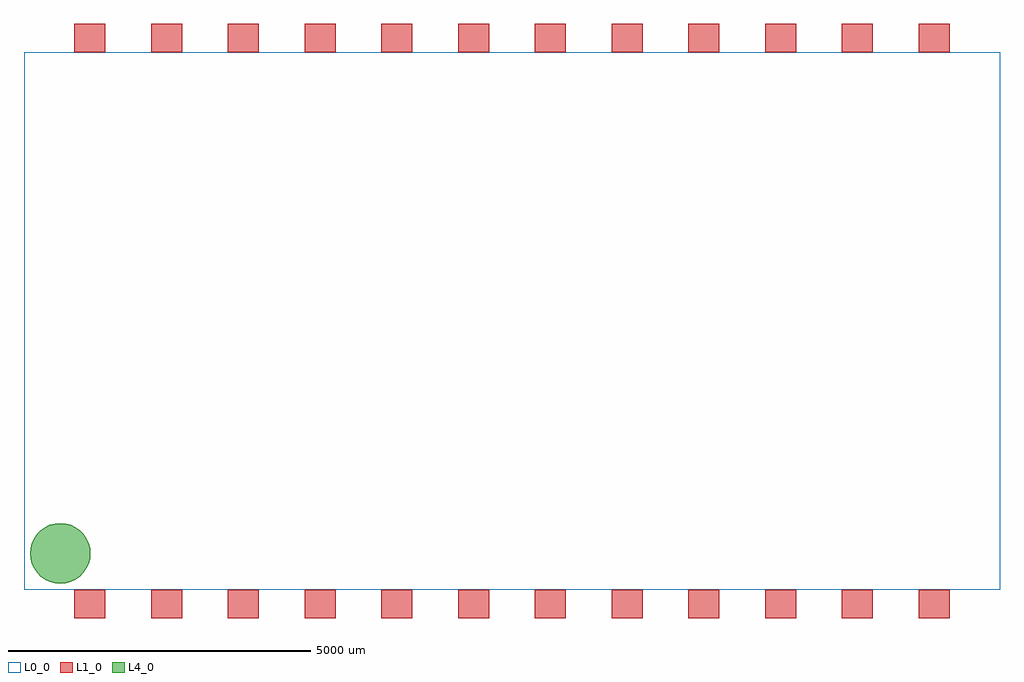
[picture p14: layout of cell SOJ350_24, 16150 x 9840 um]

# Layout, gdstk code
import gdstk
lib = gdstk.Library(unit=1e-6, precision=1e-09)
def R(c, l, rs):  # rectangles x0, y0, x1, y1
    for r in rs: c.add(gdstk.rectangle(r[:2], r[2:], *l))
def A(c, l, x, y, w, h, nx, ny, dx, dy):  # array of equal rectangles
    R(c, l, [(x+i*dx, y+j*dy, x+i*dx+w, y+j*dy+h) for i in range(nx) for j in range(ny)])
def P(c, l, *ps):  # polygons
    for p in ps: c.add(gdstk.Polygon(p, *l))
L0_0 = (0, 0)
L1_0 = (1, 0)
L4_0 = (4, 0)
L99_1 = (99, 1)
L99_2 = (99, 2)
L99_3 = (99, 3)
L99_4 = (99, 4)
L99_5 = (99, 5)
L99_6 = (99, 6)
L99_7 = (99, 7)
L99_8 = (99, 8)
L99_9 = (99, 9)
L99_10 = (99, 10)
L99_11 = (99, 11)
L99_12 = (99, 12)
L99_13 = (99, 13)
L99_14 = (99, 14)
L99_15 = (99, 15)
L99_16 = (99, 16)
L99_17 = (99, 17)
L99_18 = (99, 18)
L99_19 = (99, 19)
L99_20 = (99, 20)
L99_21 = (99, 21)
L99_22 = (99, 22)
L99_23 = (99, 23)
L99_24 = (99, 24)

soj350_24 = lib.new_cell('SOJ350_24')
R(soj350_24, L0_0, [(0,0,16150,8890)])
A(soj350_24, L1_0, 835, -475, 510, 475, 12, 2, 1270, 9365)
P(soj350_24, L4_0, [(1100,600),(1092.404,513.176),(1069.846,428.99),(1033.013,350),(983.022,278.606),(921.394,216.978),(850,166.987),(771.01,130.154),(686.824,107.596),(600,100),(513.176,107.596),(428.99,130.154),(350,166.987),(278.606,216.978),(216.978,278.606),(166.987,350),(130.154,428.99),(107.596,513.176),(100,600),(107.596,686.824),(130.154,771.01),(166.987,850),(216.978,921.394),(278.606,983.022),(350,1033.013),(428.99,1069.846),(513.176,1092.404),(600,1100),(686.824,1092.404),(771.01,1069.846),(850,1033.013),(921.394,983.022),(983.022,921.394),(1033.013,850),(1069.846,771.01),(1092.404,686.824)])
soj350_24.add(gdstk.FlexPath([(1345,0),(835,0)], 0, ends="round", simple_path=True, layer=99, datatype=1))  # L99_1
soj350_24.add(gdstk.FlexPath([(2615,0),(2105,0)], 0, ends="round", simple_path=True, layer=99, datatype=2))  # L99_2
soj350_24.add(gdstk.FlexPath([(3885,0),(3375,0)], 0, ends="round", simple_path=True, layer=99, datatype=3))  # L99_3
soj350_24.add(gdstk.FlexPath([(5155,0),(4645,0)], 0, ends="round", simple_path=True, layer=99, datatype=4))  # L99_4
soj350_24.add(gdstk.FlexPath([(6425,0),(5915,0)], 0, ends="round", simple_path=True, layer=99, datatype=5))  # L99_5
soj350_24.add(gdstk.FlexPath([(7695,0),(7185,0)], 0, ends="round", simple_path=True, layer=99, datatype=6))  # L99_6
soj350_24.add(gdstk.FlexPath([(8965,0),(8455,0)], 0, ends="round", simple_path=True, layer=99, datatype=7))  # L99_7
soj350_24.add(gdstk.FlexPath([(10235,0),(9725,0)], 0, ends="round", simple_path=True, layer=99, datatype=8))  # L99_8
soj350_24.add(gdstk.FlexPath([(11505,0),(10995,0)], 0, ends="round", simple_path=True, layer=99, datatype=9))  # L99_9
soj350_24.add(gdstk.FlexPath([(12775,0),(12265,0)], 0, ends="round", simple_path=True, layer=99, datatype=10))  # L99_10
soj350_24.add(gdstk.FlexPath([(14045,0),(13535,0)], 0, ends="round", simple_path=True, layer=99, datatype=11))  # L99_11
soj350_24.add(gdstk.FlexPath([(15315,0),(14805,0)], 0, ends="round", simple_path=True, layer=99, datatype=12))  # L99_12
soj350_24.add(gdstk.FlexPath([(835,8890),(1345,8890)], 0, ends="round", simple_path=True, layer=99, datatype=24))  # L99_24
soj350_24.add(gdstk.FlexPath([(2105,8890),(2615,8890)], 0, ends="round", simple_path=True, layer=99, datatype=23))  # L99_23
soj350_24.add(gdstk.FlexPath([(3375,8890),(3885,8890)], 0, ends="round", simple_path=True, layer=99, datatype=22))  # L99_22
soj350_24.add(gdstk.FlexPath([(4645,8890),(5155,8890)], 0, ends="round", simple_path=True, layer=99, datatype=21))  # L99_21
soj350_24.add(gdstk.FlexPath([(5915,8890),(6425,8890)], 0, ends="round", simple_path=True, layer=99, datatype=20))  # L99_20
soj350_24.add(gdstk.FlexPath([(7185,8890),(7695,8890)], 0, ends="round", simple_path=True, layer=99, datatype=19))  # L99_19
soj350_24.add(gdstk.FlexPath([(8455,8890),(8965,8890)], 0, ends="round", simple_path=True, layer=99, datatype=18))  # L99_18
soj350_24.add(gdstk.FlexPath([(9725,8890),(10235,8890)], 0, ends="round", simple_path=True, layer=99, datatype=17))  # L99_17
soj350_24.add(gdstk.FlexPath([(10995,8890),(11505,8890)], 0, ends="round", simple_path=True, layer=99, datatype=16))  # L99_16
soj350_24.add(gdstk.FlexPath([(12265,8890),(12775,8890)], 0, ends="round", simple_path=True, layer=99, datatype=15))  # L99_15
soj350_24.add(gdstk.FlexPath([(13535,8890),(14045,8890)], 0, ends="round", simple_path=True, layer=99, datatype=14))  # L99_14
soj350_24.add(gdstk.FlexPath([(14805,8890),(15315,8890)], 0, ends="round", simple_path=True, layer=99, datatype=13))  # L99_13

lib.write_gds('SOJ350_24.gds')
